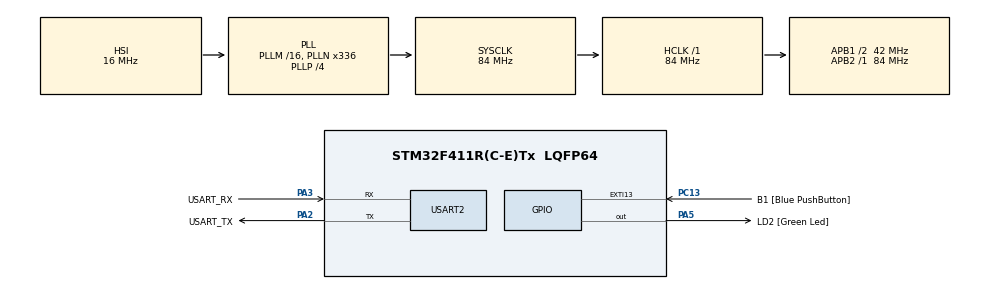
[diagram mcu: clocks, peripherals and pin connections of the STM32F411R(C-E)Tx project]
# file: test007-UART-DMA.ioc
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Dma.Request0=USART2_RX
Dma.USART2_RX.0.Direction=DMA_PERIPH_TO_MEMORY
Dma.USART2_RX.0.FIFOMode=DMA_FIFOMODE_DISABLE
Dma.USART2_RX.0.Instance=DMA1_Stream5
Dma.USART2_RX.0.MemDataAlignment=DMA_MDATAALIGN_BYTE
Dma.USART2_RX.0.MemInc=DMA_MINC_ENABLE
Dma.USART2_RX.0.Mode=DMA_CIRCULAR
Dma.USART2_RX.0.PeriphDataAlignment=DMA_PDATAALIGN_BYTE
Dma.USART2_RX.0.PeriphInc=DMA_PINC_DISABLE
Dma.USART2_RX.0.Priority=DMA_PRIORITY_LOW
Mcu.Family=STM32F4
Mcu.Name=STM32F411R(C-E)Tx
Mcu.Package=LQFP64
NVIC.DMA1_Stream5_IRQn=true\:0\:0\:false\:false\:true\:false\:true\:true
NVIC.PriorityGroup=NVIC_PRIORITYGROUP_0
PA13.GPIO_Label=TMS
PA13.Mode=Serial_Wire
PA13.Signal=SYS_JTMS-SWDIO
PA14.GPIO_Label=TCK
PA14.Mode=Serial_Wire
PA14.Signal=SYS_JTCK-SWCLK
PA2.GPIO_Label=USART_TX
PA2.Mode=Asynchronous
PA2.Signal=USART2_TX
PA3.GPIO_Label=USART_RX
PA3.Mode=Asynchronous
PA3.Signal=USART2_RX
PA5.GPIO_Label=LD2 [Green Led]
PA5.Signal=GPIO_Output
PB3.GPIO_Label=SWO
PB3.Signal=SYS_JTDO-SWO
PC13-ANTI_TAMP.GPIO_Label=B1 [Blue PushButton]
PC13-ANTI_TAMP.GPIO_ModeDefaultEXTI=GPIO_MODE_IT_FALLING
PC13-ANTI_TAMP.Signal=GPXTI13
PC14-OSC32_IN.Mode=LSE-External-Oscillator
PC14-OSC32_IN.Signal=RCC_OSC32_IN
PC15-OSC32_OUT.Mode=LSE-External-Oscillator
PC15-OSC32_OUT.Signal=RCC_OSC32_OUT
PH0\ -\ OSC_IN.Mode=HSE-External-Clock-Source
PH0\ -\ OSC_IN.Signal=RCC_OSC_IN
PH1\ -\ OSC_OUT.Mode=HSE-External-Clock-Source
PH1\ -\ OSC_OUT.Signal=RCC_OSC_OUT
ProjectManager.HeapSize=0x200
ProjectManager.StackSize=0x400
ProjectManager.TargetToolchain=STM32CubeIDE
RCC.48MHZClocksFreq_Value=84000000
RCC.AHBFreq_Value=84000000
RCC.APB1CLKDivider=RCC_HCLK_DIV2
RCC.APB1Freq_Value=42000000
RCC.APB1TimFreq_Value=84000000
RCC.APB2Freq_Value=84000000
RCC.APB2TimFreq_Value=84000000
RCC.CortexFreq_Value=84000000
RCC.FLatency-AdvancedSettings=FLASH_LATENCY_2
RCC.HCLKFreq_Value=84000000
RCC.HSE_VALUE=8000000
RCC.HSI_VALUE=16000000
RCC.PLLN=336
RCC.PLLP=RCC_PLLP_DIV4
RCC.SYSCLKFreq_VALUE=84000000
RCC.SYSCLKSource=RCC_SYSCLKSOURCE_PLLCLK
RCC.VCOOutputFreq_Value=336000000
USART2.VirtualMode=VM_ASYNC
board=NUCLEO-F411RE

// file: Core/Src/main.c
/* USER CODE BEGIN Header */
/**
  ******************************************************************************
  * @file           : main.c
  * @brief          : Main program body
  ******************************************************************************
  * @attention
  *
  * Copyright (c) 2024 STMicroelectronics.
  * All rights reserved.
  *
  * This software is licensed under terms that can be found in the LICENSE file
  * in the root directory of this software component.
  * If no LICENSE file comes with this software, it is provided AS-IS.
  *
  ******************************************************************************
  */
/* USER CODE END Header */
#include "main.h"

/* USER CODE BEGIN Includes */
#include <stdio.h>
/* USER CODE END Includes */

UART_HandleTypeDef huart2;
DMA_HandleTypeDef hdma_usart2_rx;

void SystemClock_Config(void);
static void MX_GPIO_Init(void);
static void MX_DMA_Init(void);
static void MX_USART2_UART_Init(void);

/* USER CODE BEGIN 0 */
#define MAX_BUF 100
char Buf[MAX_BUF];		// DMA Memory space
int head=0, tail=0;
int GetBuffer(char *bb)
{
	int ret = 0;
	tail = MAX_BUF - huart2.hdmarx->Instance->NDTR;  // 남은 레지스터 메모리의 수
	if(head == tail)	return 0;
	if(head < tail)	// memory enough
	{
		memcpy(bb, Buf + head, tail-head);
		ret = tail - head;
	}
	else	// head > tail, memory over
	{
		memcpy(bb, Buf + head, MAX_BUF-head);
		memcpy(bb + MAX_BUF - head, Buf, tail);
		ret = MAX_BUF-head+tail;		// 복사한 총 byte 수
	}
	head = tail;
	/*bb[ret] = 0; =*/ *(bb+ret) = 0;
	return ret;
}
/* USER CODE END 0 */

int main(void)
{

  /* MCU Configuration--------------------------------------------------------*/

  /* Reset of all peripherals, Initializes the Flash interface and the Systick. */
  HAL_Init();

  /* Configure the system clock */
  SystemClock_Config();

  /* Initialize all configured peripherals */
  MX_GPIO_Init();
  MX_DMA_Init();
  MX_USART2_UART_Init();
  /* USER CODE BEGIN 2 */
  ProgramStart("UART - DMA");
  HAL_UART_Receive_DMA(&huart2, Buf, MAX_BUF);

  /* USER CODE END 2 */

  /* Infinite loop */
  /* USER CODE BEGIN WHILE */
  char bb[100];

  while (1)
  {
	  if(GetBuffer(bb) > 0)	  printf("Received data : %s\r\n", bb);
	  HAL_Delay(1000);
    /* USER CODE END WHILE */

  }
}

void SystemClock_Config(void)
{
  RCC_OscInitTypeDef RCC_OscInitStruct = {0};
  RCC_ClkInitTypeDef RCC_ClkInitStruct = {0};

  /** Configure the main internal regulator output voltage
  */
  __HAL_RCC_PWR_CLK_ENABLE();
  __HAL_PWR_VOLTAGESCALING_CONFIG(PWR_REGULATOR_VOLTAGE_SCALE1);

  /** Initializes the RCC Oscillators according to the specified parameters
  * in the RCC_OscInitTypeDef structure.
  */
  RCC_OscInitStruct.OscillatorType = RCC_OSCILLATORTYPE_HSI;
  RCC_OscInitStruct.HSIState = RCC_HSI_ON;
  RCC_OscInitStruct.HSICalibrationValue = RCC_HSICALIBRATION_DEFAULT;
  RCC_OscInitStruct.PLL.PLLState = RCC_PLL_ON;
  RCC_OscInitStruct.PLL.PLLSource = RCC_PLLSOURCE_HSI;
  RCC_OscInitStruct.PLL.PLLM = 16;
  RCC_OscInitStruct.PLL.PLLN = 336;
  RCC_OscInitStruct.PLL.PLLP = RCC_PLLP_DIV4;
  RCC_OscInitStruct.PLL.PLLQ = 4;
  if (HAL_RCC_OscConfig(&RCC_OscInitStruct) != HAL_OK)
  {
    Error_Handler();
  }

  /** Initializes the CPU, AHB and APB buses clocks
  */
  RCC_ClkInitStruct.ClockType = RCC_CLOCKTYPE_HCLK|RCC_CLOCKTYPE_SYSCLK
                              |RCC_CLOCKTYPE_PCLK1|RCC_CLOCKTYPE_PCLK2;
  RCC_ClkInitStruct.SYSCLKSource = RCC_SYSCLKSOURCE_PLLCLK;
  RCC_ClkInitStruct.AHBCLKDivider = RCC_SYSCLK_DIV1;
  RCC_ClkInitStruct.APB1CLKDivider = RCC_HCLK_DIV2;
  RCC_ClkInitStruct.APB2CLKDivider = RCC_HCLK_DIV1;

  if (HAL_RCC_ClockConfig(&RCC_ClkInitStruct, FLASH_LATENCY_2) != HAL_OK)
  {
    Error_Handler();
  }
}

static void MX_USART2_UART_Init(void)
{

  huart2.Instance = USART2;
  huart2.Init.BaudRate = 115200;
  huart2.Init.WordLength = UART_WORDLENGTH_8B;
  huart2.Init.StopBits = UART_STOPBITS_1;
  huart2.Init.Parity = UART_PARITY_NONE;
  huart2.Init.Mode = UART_MODE_TX_RX;
  huart2.Init.HwFlowCtl = UART_HWCONTROL_NONE;
  huart2.Init.OverSampling = UART_OVERSAMPLING_16;
  if (HAL_UART_Init(&huart2) != HAL_OK)
  {
    Error_Handler();
  }

}

static void MX_DMA_Init(void)
{

  /* DMA controller clock enable */
  __HAL_RCC_DMA1_CLK_ENABLE();

  /* DMA interrupt init */
  /* DMA1_Stream5_IRQn interrupt configuration */
  HAL_NVIC_SetPriority(DMA1_Stream5_IRQn, 0, 0);
  HAL_NVIC_EnableIRQ(DMA1_Stream5_IRQn);

}

static void MX_GPIO_Init(void)
{
  GPIO_InitTypeDef GPIO_InitStruct = {0};

  /* GPIO Ports Clock Enable */
  __HAL_RCC_GPIOC_CLK_ENABLE();
  __HAL_RCC_GPIOH_CLK_ENABLE();
  __HAL_RCC_GPIOA_CLK_ENABLE();
  __HAL_RCC_GPIOB_CLK_ENABLE();

  /*Configure GPIO pin Output Level */
  HAL_GPIO_WritePin(LD2_GPIO_Port, LD2_Pin, GPIO_PIN_RESET);

  /*Configure GPIO pin : B1_Pin */
  GPIO_InitStruct.Pin = B1_Pin;
  GPIO_InitStruct.Mode = GPIO_MODE_IT_FALLING;
  GPIO_InitStruct.Pull = GPIO_NOPULL;
  HAL_GPIO_Init(B1_GPIO_Port, &GPIO_InitStruct);

  /*Configure GPIO pin : LD2_Pin */
  GPIO_InitStruct.Pin = LD2_Pin;
  GPIO_InitStruct.Mode = GPIO_MODE_OUTPUT_PP;
  GPIO_InitStruct.Pull = GPIO_NOPULL;
  GPIO_InitStruct.Speed = GPIO_SPEED_FREQ_LOW;
  HAL_GPIO_Init(LD2_GPIO_Port, &GPIO_InitStruct);

}

void Error_Handler(void)
{
  __disable_irq();
  while (1)
  {
  }
}
